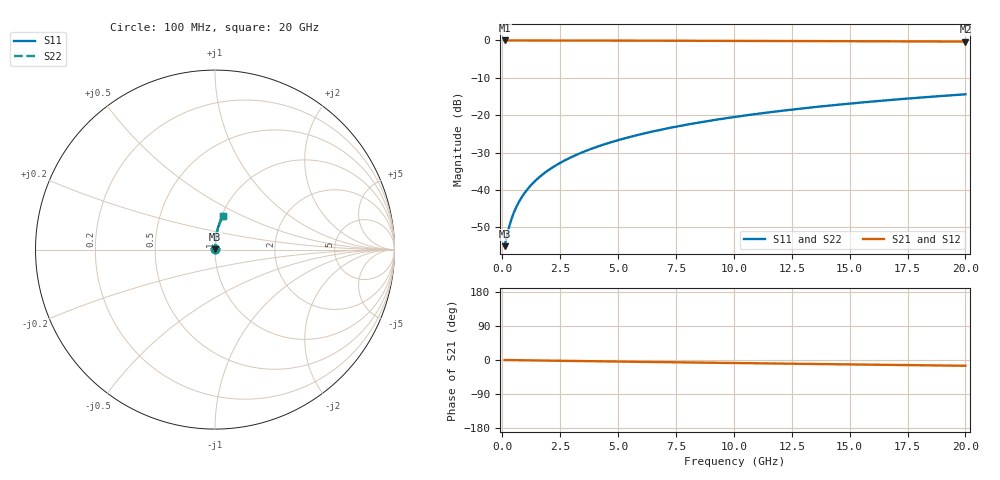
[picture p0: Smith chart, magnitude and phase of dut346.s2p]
! Touchstone file exported from HFSS 2024.1.0
!  File:  C:/UserFiles/LocalFiles/RDL_TSV_Batchsim/temp_RDL_top_346_1779607975.aedt
!  Generated:  03:35:21 PM May 24, 2026
!  Design:  RDL_top
!  Project:  temp_RDL_top_346_1779607975
!  Setup:  Setup1
!  Solution:  Sweep
! Variables:
!  dtsv = 10.80580581um
!  hbump = 3um
!  htsv = 86.63um
!  ldown = 100um
!  lrdl = 167.25um
!  p = 40
!  p1 = 45.26um
!  rhole = 1um
!  t = 450um
!  tdown = 3.915915916um
!  trdl = 3.08um
!  wdown = 15.38538539um
!  wrdl = 14.98um
# GHz S MA R 50.000000
! Terminal data exported
! Port[1] = Box2_T1
! Port[2] = Box2_T2
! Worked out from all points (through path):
!   200 points, 100 MHz to 20 GHz, reference 50 ohm
!   highest |S21| = -0.01 dB at 100 MHz (marker M1); lowest = -0.3 dB at 20 GHz (marker M2)
!   group delay of S21, straight-line fit = 2.1 ps
!   lowest |S11| = -55.0 dB at 100 MHz (marker M3), VSWR 1.00, Z = 50.1 + j0.097 ohm
!   |S11| at or under -10 dB: start of sweep to end of sweep
!   |S22| runs from -55.0 to -14.4 dB; largest |S21 - S12| = 2.6e-15
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0.1  0.00178 32.9  0.9985 -0.1  0.9985 -0.1  0.00178 32.9
! Gamma 0 0 0 0
! Port Impedance 50 0 50 0
0.2  0.002454 51.7  0.9985 -0.2  0.9985 -0.2  0.002454 51.7
0.3  0.003267 61.6  0.9984 -0.3  0.9984 -0.3  0.003267 61.6
0.4  0.004128 67.3  0.9984 -0.3  0.9984 -0.3  0.004128 67.3
0.5  0.005006 71.0  0.9983 -0.4  0.9983 -0.4  0.005006 71.0
0.6  0.005891 73.6  0.9983 -0.5  0.9983 -0.5  0.005891 73.6
0.8  0.007671 77.0  0.9982 -0.7  0.9982 -0.7  0.007671 77.0
1.1  0.01036 80.0  0.9981 -0.9  0.9981 -0.9  0.01036 80.0
1.5  0.01398 82.3  0.9979 -1.3  0.9979 -1.3  0.01397 82.3
1.8  0.0167 83.3  0.9977 -1.5  0.9977 -1.5  0.0167 83.3
2.1  0.01944 84.1  0.9975 -1.7  0.9975 -1.7  0.01944 84.1
2.7  0.02496 85.0  0.997 -2.2  0.997 -2.2  0.02496 85.0
3.5  0.03237 85.6  0.9962 -2.9  0.9962 -2.9  0.03237 85.6
4.2  0.0389 85.9  0.9954 -3.5  0.9954 -3.5  0.0389 85.9
5  0.04644 85.9  0.9943 -4.1  0.9943 -4.1  0.04644 85.9
5.9  0.05498 85.8  0.993 -4.8  0.993 -4.8  0.05498 85.8
6.8  0.06358 85.5  0.9915 -5.5  0.9915 -5.5  0.06358 85.5
8.3  0.07805 84.9  0.9889 -6.7  0.9889 -6.7  0.07805 84.9
10.1  0.09552 83.9  0.9856 -8.0  0.9856 -8.0  0.09553 83.9
13.4  0.1276 81.7  0.979 -10.5  0.979 -10.5  0.1276 81.7
16.7  0.1594 79.3  0.9719 -12.9  0.9719 -12.9  0.1594 79.3
20  0.1906 76.9  0.9644 -15.2  0.9644 -15.2  0.1906 76.9
